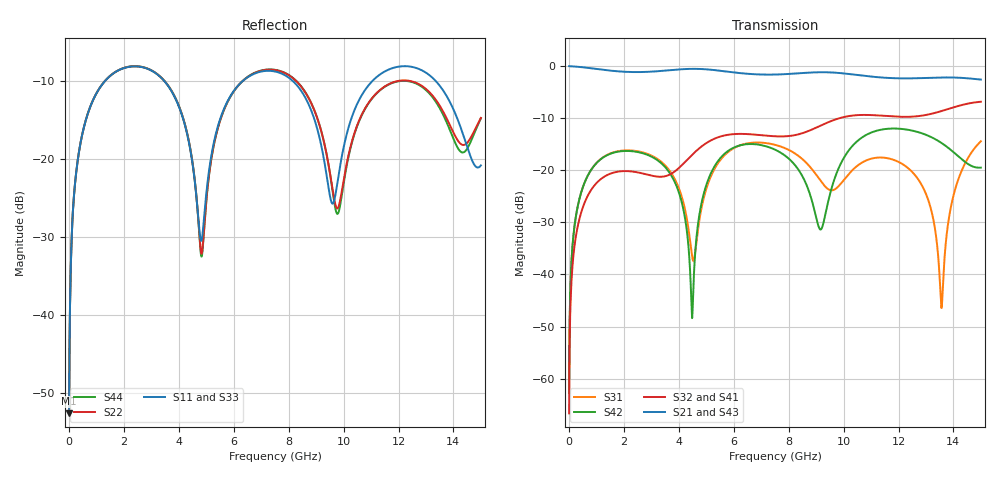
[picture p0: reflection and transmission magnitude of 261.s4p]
! Created with skrf 1.8.0 (http://scikit-rf.org).
# GHz S RI R 50.0
!freq ReS11 ImS11 ReS12 ImS12 ReS13 ImS13
! ReS14 ImS14
! ReS21 ImS21 ReS22 ImS22 ReS23 ImS23
! ReS24 ImS24
! ReS31 ImS31 ReS32 ImS32 ReS33 ImS33
! ReS34 ImS34
! ReS41 ImS41 ReS42 ImS42 ReS43 ImS43
! ReS44 ImS44
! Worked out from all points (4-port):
!   2499 points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, 5 MHz to 15 GHz, reference 50 ohm
!   strongest paths, dB at 5 MHz, 3.476 GHz, 7.19 GHz, 11.1 GHz, 15 GHz:
!     S21: 0.0, -0.9, -1.6, -2.1, -2.6
!     S43: 0.0, -0.9, -1.6, -2.1, -2.6
!     S32: -66.7, -21.2, -13.4, -9.4, -6.8
!     S41: -66.7, -21.3, -13.4, -9.5, -6.8
!     S42: -62.8, -19.2, -15.4, -12.6, -19.5
!     S31: -62.8, -18.9, -14.8, -17.7, -14.4
!   lowest |S11| = -52.6 dB at 5 MHz (marker M1), VSWR 1.00, Z = 50.2 + j0.142 ohm
!   |S11| at or under -10 dB: 3.473 GHz to 6.324 GHz (2.852 GHz wide, 58.2 % of centre); 8.156 GHz to 11.04 GHz (2.889 GHz wide, 30.1 % of centre); 13.36 GHz to end of sweep (the widest 3 of 4)
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0.005  0.00186 0.00141  0.9981 -0.00361  9.35e-05 0.000721  -9.08e-05 -0.000455
       0.9981 -0.00361  0.00186 0.00141  -9.08e-05 -0.000455  9.34e-05 0.000722
       9.35e-05 0.000721  -9.08e-05 -0.000455  0.00186 0.00141  0.9981 -0.00361
       -9.08e-05 -0.000455  9.34e-05 0.000722  0.9981 -0.00361  0.00186 0.00141
0.3626511  0.0373 0.1043  0.9483 -0.2569  0.0179 0.0477  -0.0147 -0.0292
           0.9483 -0.2569  0.0374 0.1043  -0.0147 -0.0292  0.0175 0.0478
           0.0179 0.0477  -0.0147 -0.0292  0.0373 0.1043  0.9483 -0.2569
           -0.0147 -0.0292  0.0175 0.0478  0.9483 -0.2569  0.0374 0.1043
1.825761  0.3536 0.1177  0.3233 -0.8279  0.1516 0.0208  -0.0922 0.0302
          0.3233 -0.8279  0.3548 0.1161  -0.0924 0.0306  0.1487 0.0282
          0.1516 0.0208  -0.0924 0.0306  0.3534 0.1178  0.3234 -0.8279
          -0.0922 0.0302  0.1487 0.0282  0.3234 -0.8279  0.3549 0.116
4.489371  0.0473 -0.0833  -0.8985 -0.2789  -0.0133 -0.00579  -0.0388 0.1356
          -0.8985 -0.2789  0.043 -0.0875  -0.036 0.1364  0.00374 0.00102
          -0.0133 -0.00579  -0.036 0.1364  0.0484 -0.083  -0.8984 -0.279
          -0.0388 0.1356  0.00374 0.00102  -0.8984 -0.279  0.0421 -0.0879
7.4406  0.3651 -0.0286  -0.0184 0.8287  0.1446 -0.1024  0.2019 -0.0586
        -0.0184 0.8287  0.3727 -0.029  0.202 -0.0652  0.1468 -0.0646
        0.1446 -0.1024  0.202 -0.0652  0.3641 -0.0269  -0.0185 0.8287
        0.2019 -0.0586  0.1468 -0.0646  -0.0185 0.8287  0.3738 -0.0304
13.5619  0.2272 -0.1736  -0.4837 -0.6086  -0.00434 -0.00197  -0.2912 0.2272
         -0.4837 -0.6086  0.1948 -0.0813  -0.2771 0.245  -0.0977 -0.1549
         -0.00434 -0.00197  -0.2771 0.245  0.2245 -0.168  -0.486 -0.609
         -0.2912 0.2272  -0.0977 -0.1549  -0.486 -0.609  0.1844 -0.084
15  0.091 0.00271  -0.7414 0.0364  0.1371 0.1314  0.0309 0.4539
    -0.7414 0.0364  0.1593 0.0914  0.0582 0.4511  -0.0257 0.1029
    0.1371 0.1314  0.0582 0.4511  0.0949 0.00448  -0.7411 0.039
    0.0309 0.4539  -0.0257 0.1029  -0.7411 0.039  0.1504 0.1034
